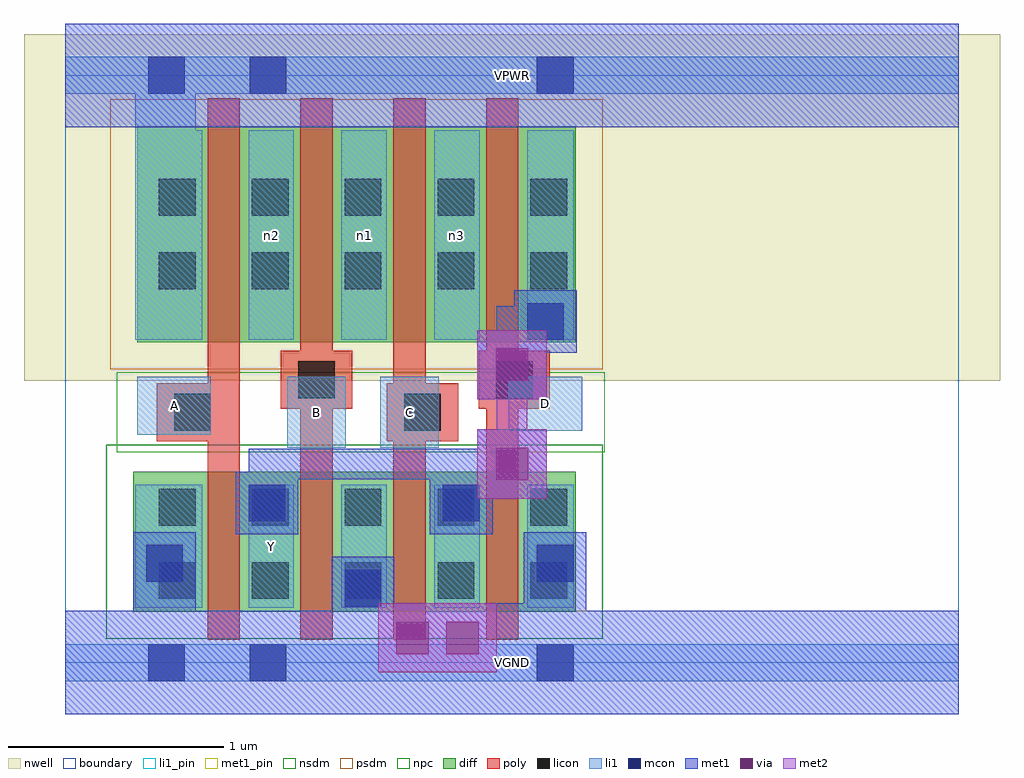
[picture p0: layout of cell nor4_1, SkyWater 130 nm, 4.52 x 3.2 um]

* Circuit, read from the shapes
.subckt nor4_1 A B C D VGND VPWR Y n1 n2 n3
XM1 Y A VGND VSUBS sky130_fd_pr__nfet_01v8 w=0.65 l=0.15
XM2 VGND B Y VSUBS sky130_fd_pr__nfet_01v8 w=0.65 l=0.15
XM3 Y C VGND VSUBS sky130_fd_pr__nfet_01v8 w=0.65 l=0.15
XM4 VGND D Y VSUBS sky130_fd_pr__nfet_01v8 w=0.65 l=0.15
XM5 n2 A VPWR n4 sky130_fd_pr__pfet_01v8 w=1 l=0.15
XM6 n1 B n2 n4 sky130_fd_pr__pfet_01v8 w=1 l=0.15
XM7 n3 C n1 n4 sky130_fd_pr__pfet_01v8 w=1 l=0.15
XM8 Y D n3 n4 sky130_fd_pr__pfet_01v8 w=1 l=0.15
.ends

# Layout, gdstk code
import gdstk
lib = gdstk.Library(unit=1e-6, precision=1e-09)
def R(c, l, rs):  # rectangles x0, y0, x1, y1
    for r in rs: c.add(gdstk.rectangle(r[:2], r[2:], *l))
def A(c, l, x, y, w, h, nx, ny, dx, dy):  # array of equal rectangles
    R(c, l, [(x+i*dx, y+j*dy, x+i*dx+w, y+j*dy+h) for i in range(nx) for j in range(ny)])
nwell = (64, 20)
diff = (65, 20)
poly = (66, 20)
licon = (66, 44)
li1_pin = (67, 16)
li1 = (67, 20)
mcon = (67, 44)
met1_pin = (68, 16)
met1 = (68, 20)
via = (68, 44)
met2 = (69, 20)
nsdm = (93, 44)
psdm = (94, 20)
npc = (95, 20)
boundary = (235, 4)

nor4_1 = lib.new_cell('nor4_1')
R(nor4_1, nwell, [(-0.19,1.305,4.33,2.91), (0,1.305,4.14,2.91)])
R(nor4_1, diff, [(0.315,0.235,2.365,0.885), (0.335,1.485,2.365,2.485)])
A(nor4_1, poly, 0.66, 0.105, 0.15, 2.51, 4, 1, 0.43, 0)
R(nor4_1, poly, [(0.425,1.025,0.755,1.295), (1.49,1.025,1.82,1.295), (1,1.175,1.33,1.445), (1.915,1.175,2.245,1.445)])
A(nor4_1, licon, 0.435, 0.295, 0.17, 0.17, 5, 2, 0.43, 0.34)
A(nor4_1, licon, 0.435, 1.73, 0.17, 0.17, 5, 2, 0.43, 0.34)
R(nor4_1, licon, [(0.505,1.075,0.675,1.245), (1.57,1.075,1.74,1.245), (1.08,1.225,1.25,1.395), (1.995,1.225,2.165,1.395)])
R(nor4_1, li1_pin, [(0.85,0.255,1.06,0.825), (1.03,0.995,1.3,1.325), (1.46,0.995,1.73,1.325), (0.335,1.055,0.675,1.325), (2.055,1.075,2.395,1.325)])
A(nor4_1, li1, 0.85, 0.255, 0.21, 0.57, 3, 1, 0.43, 0)
A(nor4_1, li1, 0.85, 1.495, 0.21, 0.97, 3, 1, 0.43, 0)
R(nor4_1, li1, [(0,-0.085,4.14,0.085), (0.325,0.255,0.635,0.825), (2.14,0.255,2.355,0.825), (1.03,0.995,1.3,1.325), (1.46,0.995,1.73,1.325), (0.335,1.055,0.675,1.325), (2.055,1.075,2.395,1.325), (0.325,1.495,0.635,2.465), (0.325,1.495,0.605,2.805), (2.14,1.495,2.355,2.465), (0,2.635,4.14,2.805)])
R(nor4_1, mcon, [(0.385,-0.085,0.555,0.085), (0.855,-0.085,1.025,0.085), (2.185,-0.085,2.355,0.085), (1.295,0.26,1.465,0.43), (0.375,0.375,0.545,0.545), (2.185,0.375,2.355,0.545), (0.85,0.655,1.02,0.825), (1.75,0.655,1.92,0.825), (2.14,1.495,2.31,1.665), (0.385,2.635,0.555,2.805), (0.855,2.635,1.025,2.805), (2.185,2.635,2.355,2.805)])
R(nor4_1, met1_pin, [(0,-0.24,4.14,0.24), (0,2.48,4.14,2.96)])
R(nor4_1, met1, [(0,-0.24,4.14,0.24), (0.505,-0.07,0.645,0.185), (0.505,-0.07,1.45,0.07), (1.31,-0.07,1.45,0.415), (1.45,-0.045,1.77,0.275), (1.68,-0.045,2,0.275), (0.39,0.045,0.53,0.185), (0.39,0.045,0.53,0.53), (0.39,0.045,0.645,0.185), (1.31,0.045,1.68,0.185), (1.77,0.045,2.37,0.185), (2.23,0.045,2.37,0.53), (0.39,0.185,0.605,0.315), (0.505,0.185,0.605,0.315), (2,0.185,2.125,0.275), (2.125,0.185,2.37,0.315), (1.235,0.2,1.525,0.49), (0.315,0.24,0.605,0.315), (2,0.24,2.125,0.275), (2.125,0.24,2.415,0.315), (0.315,0.315,0.605,0.605), (2.125,0.315,2.415,0.605), (2.2,0.39,2.37,0.53), (0.79,0.595,1.08,0.885), (1.69,0.595,1.98,0.885), (0.85,0.67,1.005,0.81), (0.85,0.67,0.99,0.99), (1.765,0.67,1.91,0.81), (1.77,0.67,1.91,0.99), (1.91,0.76,2.23,1.08), (0.85,0.85,1.91,0.99), (1.77,0.85,2.14,0.99), (1.91,1.22,2.23,1.54), (2,1.31,2.14,1.65), (2.08,1.435,2.37,1.725), (2,1.51,2.295,1.65), (0,2.48,4.14,2.96)])
R(nor4_1, via, [(1.535,0.04,1.685,0.19), (1.765,0.04,1.915,0.19), (1.995,0.845,2.145,0.995), (1.995,1.305,2.145,1.455)])
R(nor4_1, met2, [(1.45,-0.045,1.77,0.275), (1.68,-0.045,2,0.275), (1.54,0.045,1.91,0.185), (1.91,0.76,2.23,1.08), (2,0.85,2.14,1.45), (1.91,1.22,2.23,1.54)])
R(nor4_1, nsdm, [(0.19,0.11,2.49,1.01)])
R(nor4_1, psdm, [(0.21,1.36,2.49,2.61)])
R(nor4_1, npc, [(0.24,0.975,2.5,1.345)])
R(nor4_1, boundary, [(0,0,4.14,2.72)])
nor4_1.add(gdstk.Label('A', (0.505,1.19), layer=67, texttype=5))
nor4_1.add(gdstk.Label('B', (1.165,1.16), layer=67, texttype=5))
nor4_1.add(gdstk.Label('C', (1.595,1.16), layer=67, texttype=5))
nor4_1.add(gdstk.Label('D', (2.225,1.2), layer=67, texttype=5))
nor4_1.add(gdstk.Label('Y', (0.955,0.54), layer=67, texttype=5))
nor4_1.add(gdstk.Label('n2', (0.955,1.98), layer=67, texttype=5))
nor4_1.add(gdstk.Label('n1', (1.385,1.98), layer=67, texttype=5))
nor4_1.add(gdstk.Label('n3', (1.815,1.98), layer=67, texttype=5))
nor4_1.add(gdstk.Label('VPWR', (2.07,2.72), layer=68, texttype=5))
nor4_1.add(gdstk.Label('VGND', (2.07,0), layer=68, texttype=5))
nor4_1.add(gdstk.Label('A', (0.505,1.19), layer=67, texttype=16))
nor4_1.add(gdstk.Label('B', (1.165,1.16), layer=67, texttype=16))
nor4_1.add(gdstk.Label('C', (1.595,1.16), layer=67, texttype=16))
nor4_1.add(gdstk.Label('D', (2.225,1.2), layer=67, texttype=16))
nor4_1.add(gdstk.Label('Y', (0.955,0.54), layer=67, texttype=16))
nor4_1.add(gdstk.Label('VPWR', (2.07,2.72), layer=68, texttype=16))
nor4_1.add(gdstk.Label('VGND', (2.07,0), layer=68, texttype=16))

lib.write_gds('nor4_1.gds')
